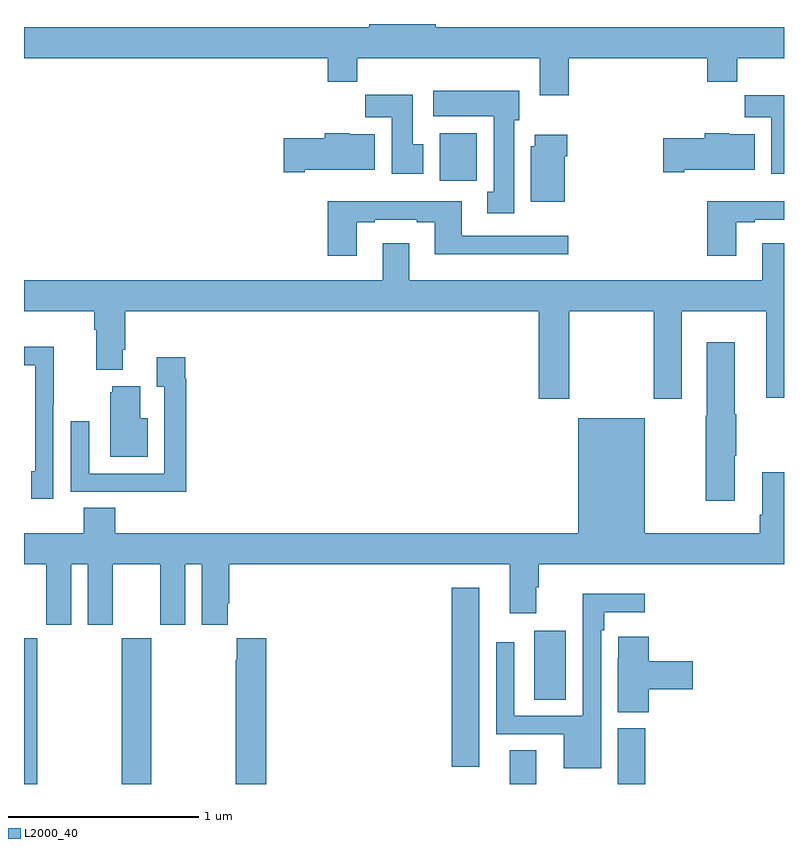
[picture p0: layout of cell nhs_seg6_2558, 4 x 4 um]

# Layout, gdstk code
import gdstk
lib = gdstk.Library(unit=1e-6, precision=1e-09)
def R(c, l, rs):  # rectangles x0, y0, x1, y1
    for r in rs: c.add(gdstk.rectangle(r[:2], r[2:], *l))
def P(c, l, *ps):  # polygons
    for p in ps: c.add(gdstk.Polygon(p, *l))
L2000_40 = (2000, 40)

nhs_seg6_2558 = lib.new_cell('nhs_seg6_2558')
R(nhs_seg6_2558, L2000_40, [(263,959.5,263.07,960.268), (263.515,959.5,263.67,960.268), (265.556,959.5,265.696,959.678), (266.126,959.5,266.27,959.793), (265.25,959.592,265.396,960.532), (265.685,959.944,265.852,960.307), (265.187,962.676,265.383,962.926)])
P(nhs_seg6_2558, L2000_40, [(265.868,963.32),(266.597,963.32),(266.597,963.196),(266.753,963.196),(266.753,963.32),(267,963.32),(267,963.484),(265.168,963.484),(265.168,963.5),(264.818,963.5),(264.818,963.484),(263,963.484),(263,963.32),(264.599,963.32),(264.599,963.196),(264.755,963.196),(264.755,963.32),(265.715,963.32),(265.715,963.126),(265.868,963.126)],
  [(265.579,962.994),(265.606,962.994),(265.606,963.148),(265.155,963.148),(265.155,963.014),(265.472,963.014),(265.472,962.617),(265.439,962.617),(265.439,962.505),(265.579,962.505)],
  [(265.102,962.868),(265.045,962.868),(265.045,963.127),(264.796,963.127),(264.796,963.008),(264.935,963.008),(264.935,962.712),(265.102,962.712)],
  [(267,963.126),(266.794,963.126),(266.794,963.008),(266.933,963.008),(266.933,962.712),(267,962.712)],
  [(264.478,962.732),(264.847,962.732),(264.847,962.92),(264.714,962.92),(264.714,962.926),(264.584,962.926),(264.584,962.898),(264.366,962.898),(264.366,962.72),(264.478,962.72)],
  [(266.476,962.732),(266.845,962.732),(266.845,962.92),(266.712,962.92),(266.712,962.926),(266.582,962.926),(266.582,962.898),(266.364,962.898),(266.364,962.72),(266.476,962.72)],
  [(265.846,962.804),(265.859,962.804),(265.859,962.917),(265.688,962.917),(265.688,962.856),(265.667,962.856),(265.667,962.564),(265.846,962.564)],
  [(266.749,962.457),(266.845,962.457),(266.845,962.469),(267,962.469),(267,962.566),(266.597,962.566),(266.597,962.28),(266.749,962.28)],
  [(264.751,962.457),(264.847,962.457),(264.847,962.469),(265.067,962.469),(265.067,962.457),(265.163,962.457),(265.163,962.288),(265.864,962.288),(265.864,962.385),(265.303,962.385),(265.303,962.566),(264.599,962.566),(264.599,962.28),(264.751,962.28)],
  [(265.869,961.988),(266.314,961.988),(266.314,961.527),(266.461,961.527),(266.461,961.988),(266.906,961.988),(266.906,961.533),(267,961.533),(267,962.347),(266.885,962.347),(266.885,962.152),(265.027,962.152),(265.027,962.347),(264.887,962.347),(264.887,962.152),(263,962.152),(263,961.988),(263.369,961.988),(263.369,961.892),(263.381,961.892),(263.381,961.679),(263.521,961.679),(263.521,961.786),(263.534,961.786),(263.534,961.988),(265.709,961.988),(265.709,961.527),(265.869,961.527)],
  [(266.74,961.228),(266.748,961.228),(266.748,961.445),(266.74,961.445),(266.74,961.825),(266.594,961.825),(266.594,961.439),(266.587,961.439),(266.587,960.99),(266.74,960.99)],
  [(263.154,961.495),(263.157,961.495),(263.157,961.802),(263,961.802),(263,961.704),(263.058,961.704),(263.058,961.146),(263.039,961.146),(263.039,961.002),(263.154,961.002)],
  [(263.855,961.634),(263.848,961.634),(263.848,961.747),(263.699,961.747),(263.699,961.591),(263.739,961.591),(263.739,961.134),(263.343,961.134),(263.343,961.408),(263.247,961.408),(263.247,961.038),(263.563,961.038),(263.563,961.037),(263.855,961.037)],
  [(263.65,961.426),(263.611,961.426),(263.611,961.594),(263.465,961.594),(263.465,961.563),(263.453,961.563),(263.453,961.223),(263.65,961.223)],
  [(263.248,960.656),(263.336,960.656),(263.336,960.339),(263.467,960.339),(263.467,960.656),(263.717,960.656),(263.717,960.339),(263.848,960.339),(263.848,960.656),(263.936,960.656),(263.936,960.339),(264.073,960.339),(264.073,960.451),(264.08,960.451),(264.08,960.656),(265.556,960.656),(265.556,960.399),(265.696,960.399),(265.696,960.536),(265.709,960.536),(265.709,960.656),(267,960.656),(267,961.141),(266.885,961.141),(266.885,960.916),(266.873,960.916),(266.873,960.82),(266.266,960.82),(266.266,961.426),(265.916,961.426),(265.916,960.82),(263.48,960.82),(263.48,960.953),(263.315,960.953),(263.315,960.82),(263,960.82),(263,960.656),(263.117,960.656),(263.117,960.339),(263.248,960.339)],
  [(266.037,960.308),(266.053,960.308),(266.053,960.404),(266.266,960.404),(266.266,960.502),(265.941,960.502),(265.941,959.859),(265.581,959.859),(265.581,960.247),(265.485,960.247),(265.485,959.763),(265.841,959.763),(265.841,959.582),(266.037,959.582)],
  [(266.288,959.999),(266.521,959.999),(266.521,960.146),(266.288,960.146),(266.288,960.274),(266.127,960.274),(266.127,960.161),(266.126,960.161),(266.126,959.878),(266.288,959.878)],
  [(264.275,960.268),(264.119,960.268),(264.119,960.155),(264.115,960.155),(264.115,959.5),(264.275,959.5)])

lib.write_gds('nhs_seg6_2558.gds')
